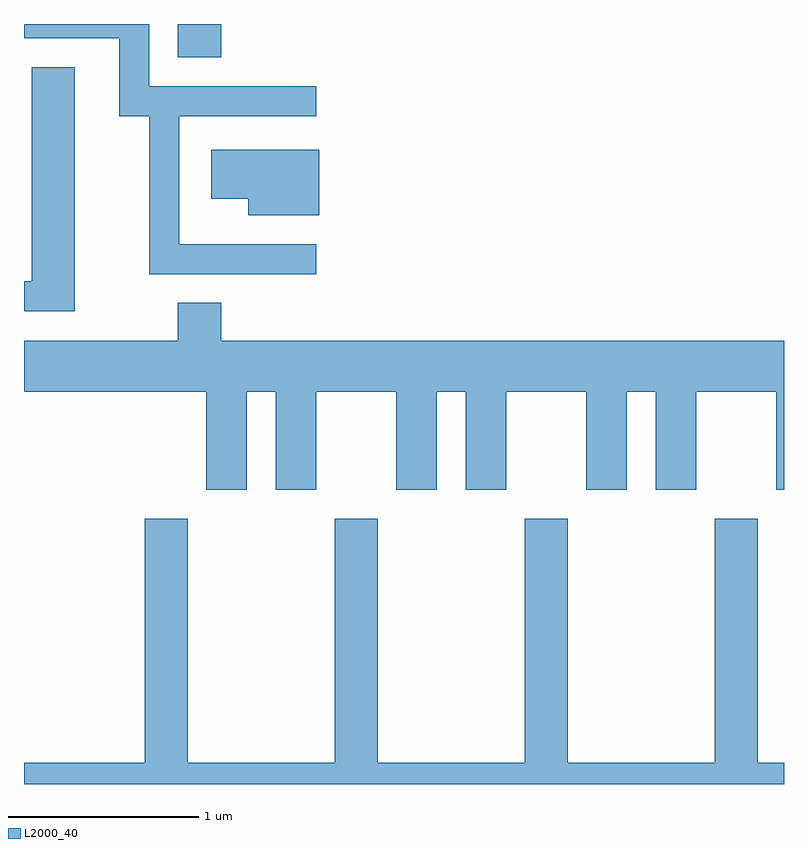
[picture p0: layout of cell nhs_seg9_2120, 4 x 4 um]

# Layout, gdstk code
import gdstk
lib = gdstk.Library(unit=1e-6, precision=1e-09)
def R(c, l, rs):  # rectangles x0, y0, x1, y1
    for r in rs: c.add(gdstk.rectangle(r[:2], r[2:], *l))
def P(c, l, *ps):  # polygons
    for p in ps: c.add(gdstk.Polygon(p, *l))
L2000_40 = (2000, 40)

nhs_seg9_2120 = lib.new_cell('nhs_seg9_2120')
R(nhs_seg9_2120, L2000_40, [(248.421,1980.256,248.649,1980.432)])
P(nhs_seg9_2120, L2000_40, [(249.148,1979.274),(248.429,1979.274),(248.429,1979.946),(249.148,1979.946),(249.148,1980.104),(248.269,1980.104),(248.269,1980.432),(247.611,1980.432),(247.611,1980.356),(248.111,1980.356),(248.111,1979.946),(248.271,1979.946),(248.271,1979.116),(249.148,1979.116)],
  [(247.879,1980.204),(247.651,1980.204),(247.651,1979.079),(247.611,1979.079),(247.611,1978.921),(247.879,1978.921)],
  [(249.164,1979.769),(248.596,1979.769),(248.596,1979.511),(248.791,1979.511),(248.791,1979.426),(249.164,1979.426)],
  [(248.784,1978.496),(248.936,1978.496),(248.936,1977.981),(249.149,1977.981),(249.149,1978.496),(249.571,1978.496),(249.571,1977.981),(249.784,1977.981),(249.784,1978.496),(249.936,1978.496),(249.936,1977.981),(250.149,1977.981),(250.149,1978.496),(250.571,1978.496),(250.571,1977.981),(250.784,1977.981),(250.784,1978.496),(250.936,1978.496),(250.936,1977.981),(251.149,1977.981),(251.149,1978.496),(251.571,1978.496),(251.571,1977.981),(251.611,1977.981),(251.611,1978.764),(248.649,1978.764),(248.649,1978.964),(248.421,1978.964),(248.421,1978.764),(247.611,1978.764),(247.611,1978.496),(248.571,1978.496),(248.571,1977.981),(248.784,1977.981)],
  [(251.611,1976.544),(251.474,1976.544),(251.474,1977.829),(251.246,1977.829),(251.246,1976.544),(250.474,1976.544),(250.474,1977.829),(250.246,1977.829),(250.246,1976.544),(249.474,1976.544),(249.474,1977.829),(249.246,1977.829),(249.246,1976.544),(248.474,1976.544),(248.474,1977.829),(248.246,1977.829),(248.246,1976.544),(247.611,1976.544),(247.611,1976.432),(251.611,1976.432)])

lib.write_gds('nhs_seg9_2120.gds')
